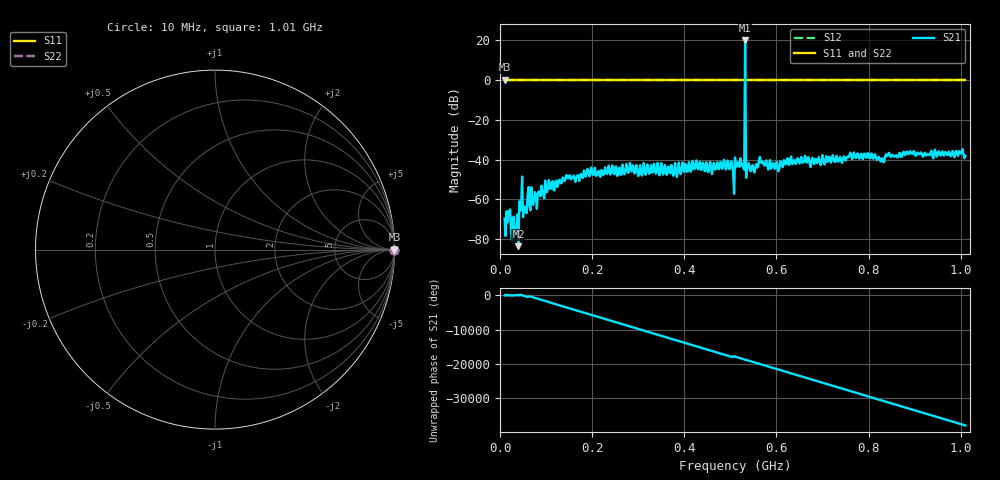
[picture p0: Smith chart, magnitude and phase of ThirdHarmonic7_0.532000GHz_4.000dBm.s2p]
! 8/17/2025 3:51:45 PM
! C:\ANRITSUVNA\TEMP\TEMP.S2P
! CHANNEL.1
! TR.MEASUREMENT
! RAW.DATA
! RF.CORRECTION.OFF
! AVERAGING.OFF
! IF.BANDWIDTH: 5KHZ
! SWEEPTYPE:  FREQ.SWEEP(Linear)
! Reference Plane Port Info
! PORT:  PORT1  PORT2
! DISTANCE:  0  m  0  m
! TIME:  0  s  0  s
! PHASE.OFFSET:  0  deg.  0  deg.
! LOSS:  0  dB  0  dB
! REF.LOSS:  0  dB  0  dB
! REF.FREQ:  0  Hz  0  Hz
! Power Info
! POWER:  -20  dBm  -20  dBm
! EFF.POWER:  -20  dBm  -20  dBm
! SOURCE.ATTEN:  0  dB  0  dB
! TEST.ATTEN:  0  dB  0  dB
# GHZ S RI R 50.0
! FREQ.GHZ  S11RE  S11IM  S21RE  S21IM  S12RE  S12IM  S22RE  S22IM
!; PortSelection: Port_12
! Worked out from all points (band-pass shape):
!   501 points, 10 MHz to 1.01 GHz, reference 50 ohm
!   highest |S21| = 19.75 dB at 532 MHz (marker M1); lowest = -83.5 dB at 40 MHz (marker M2)
!   |S21| within 3 dB of the highest: 531.9075 MHz to 532.087 MHz (179.5 kHz wide, 0.0337 % of centre)
!   lowest |S11| = 0.0 dB at 10 MHz (marker M3)
!   |S11| at or under -10 dB: nowhere
!   |S22| runs from 0.0 to 0.0 dB; largest |S21 - S12| = 9.2
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0.01  1 0  0.000316 8.98e-05  1 0  1 0
0.018  1 0  0.00043 0.000159  1 0  1 0
0.036  1 0  -0.000122 1.71e-05  1 0  1 0
0.04  1 0  5.38e-05 -3.97e-05  1 0  1 0
0.046  1 0  -0.000394 0.000648  1 0  1 0
0.054  1 0  -0.00047 0.000465  1 0  1 0
0.064  1 0  -0.000612 0.000357  1 0  1 0
0.178  1 0  -0.00344 -0.000758  1 0  1 0
0.344  1 0  0.00506 -0.00287  1 0  1 0
0.482  1 0  -0.00509 -0.00288  1 0  1 0
0.51  1 0  -0.0112 0.001  1 0  1 0
0.514  1 0  0.00627 0.00205  1 0  1 0
0.526  1 0  -0.00406 -0.00635  1 0  1 0
0.528  1 0  -0.00614 0.00044  1 0  1 0
0.532  1 0  5.366 -8.105  1 0  1 0
0.536  1 0  -0.00398 -0.00335  1 0  1 0
0.538  1 0  -0.00528 0.00407  1 0  1 0
0.566  1 0  0.000957 0.00839  1 0  1 0
0.602  1 0  0.00133 0.00679  1 0  1 0
0.678  1 0  0.000757 -0.0111  1 0  1 0
0.844  1 0  -0.000257 0.0147  1 0  1 0
1.01  1 0  -0.00177 -0.0123  1 0  1 0
